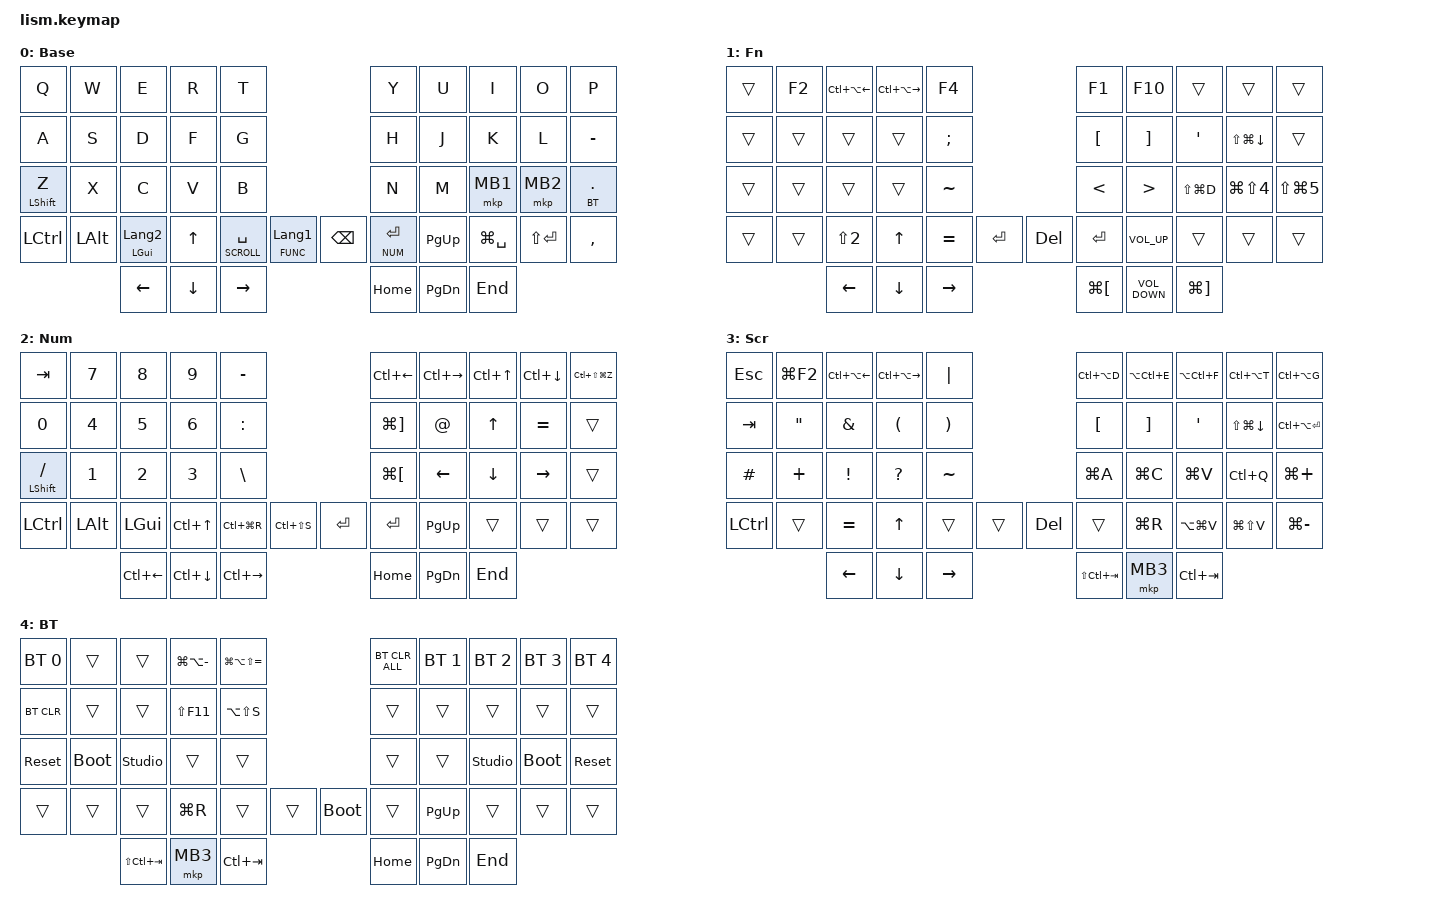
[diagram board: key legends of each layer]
// shot84 の配列（5 列 + 親指 5 + 5way の 50 キー版から移植・2026-11-09）
//
// 位置の対応（LiSM の並び）:
//   0〜29  … 指 3 行は同じ
//   30〜41 … 親指行 = 元の親指行 L5 / R5 の外→内の順。間の小さいキー（33 / 38）がスティックの「上」
//   42〜47 … スティックの 左 / 下 / 右（L 42〜44・R 45〜47）
// 元との違い:
//   ・左スティックは押し込みなし（ピン未割り当て）＝元の 5way 中央の割り当ては無い
//   ・右はトラックボール（PAW3222）＝右スティックの位置（38・45〜47）は物理的に無い。元の右 5way の割り当てを
//     置いてあるが効かない（4waystick 版にしたとき用）
//   ・エンコーダ無し＝sensor-bindings は書かない
//   ・BT レイヤの左スティック＝元の Scr レイヤの右 5way（↑⌘R ←⌃⇧Tab ↓MB3 →⌃Tab・2026-11-09）
// トラックボールのスクロールは SCROLL レイヤ（3）で効く＝snippets/trackball-*/ の scroller の layers と揃える

#include <behaviors.dtsi>
#include <dt-bindings/zmk/bt.h>
#include <dt-bindings/zmk/keys.h>
#include <dt-bindings/zmk/pointing.h>

#define DEF 0
#define FUNC 1
#define NUM 2
#define SCROLL 3
#define BT 4

&mt {
    flavor = "balanced";
    quick-tap-ms = <0>;
};

/ {
    behaviors {
        z_shft: zmk,behavior-hold-tap {
            compatible = "zmk,behavior-hold-tap";
            #binding-cells = <2>;
            flavor = "tap-preferred";
            tapping-term-ms = <250>;
            bindings = <&kp>, <&kp>;
        };
    };

    combos {
        compatible = "zmk,combos";

        cmd_w {
            bindings = <&kp LG(W)>;
            key-positions = <0 1>;
        };

        cmd_t {
            bindings = <&kp LG(T)>;
            key-positions = <4 3>;
        };

        cmd_opt_u {
            bindings = <&kp LA(LG(U))>;
            key-positions = <5 6>;
        };

        cmd_f {
            bindings = <&kp LG(F)>;
            key-positions = <14 13>;
        };

        cmd_shift_v {
            bindings = <&kp LG(LS(V))>;
            key-positions = <24 23>;
        };

        cmd_n {
            bindings = <&kp LG(N)>;
            key-positions = <25 26>;
        };
    };

    keymap {
        compatible = "zmk,keymap";

        default_layer {
            display-name = "Base";
            bindings = <
&kp Q             &kp W     &kp E                &kp R     &kp T                                          &kp Y     &kp U          &kp I          &kp O          &kp P
&kp A             &kp S     &kp D                &kp F     &kp G                                          &kp H     &kp J          &kp K          &kp L          &kp MINUS
&z_shft LSHIFT Z  &kp X     &kp C                &kp V     &kp B                                          &kp N     &kp M          &mkp MB1       &mkp MB2       &lt BT PERIOD
&kp LCTRL         &kp LALT  &mt LGUI LANGUAGE_2  &kp UP    &lt SCROLL SPACE  &lt FUNC LANGUAGE_1  &kp BSPC  &lt NUM ENTER  &kp PG_UP      &kp LG(SPACE)  &kp LS(ENTER)  &kp COMMA
                            &kp LEFT             &kp DOWN  &kp RIGHT                                      &kp HOME  &kp PG_DN      &kp END
            >;
        };

        function_layer {
            display-name = "Fn";
            bindings = <
&trans  &kp F2  &kp LC(LA(LEFT))  &kp LC(LA(RIGHT))  &kp F4                                &kp F1                &kp F10               &trans               &trans                 &trans
&trans  &trans  &trans            &trans             &kp SEMICOLON                         &kp LEFT_BRACKET      &kp RIGHT_BRACKET     &kp SQT              &kp LS(LG(DOWN))       &trans
&trans  &trans  &trans            &trans             &kp TILDE                             &kp LESS_THAN         &kp GREATER_THAN      &kp LS(LG(D))        &kp LG(LS(NUMBER_4))   &kp LS(LG(NUMBER_5))
&trans  &trans  &kp LS(NUMBER_2)  &kp UP             &kp EQUAL      &kp ENTER  &kp DELETE  &kp ENTER             &kp C_VOLUME_UP       &trans               &trans                 &trans
                &kp LEFT          &kp DOWN           &kp RIGHT                             &kp LG(LEFT_BRACKET)  &kp C_VOLUME_DOWN     &kp LG(RIGHT_BRACKET)
            >;
        };

        num_layer {
            display-name = "Num";
            bindings = <
&kp TAB           &kp N7        &kp N8        &kp N9        &kp MINUS                                   &kp LC(LEFT)           &kp LC(RIGHT)  &kp LC(UP_ARROW)  &kp LC(DOWN)  &kp LC(LS(LG(Z)))
&kp NUMBER_0      &kp NUMBER_4  &kp N5        &kp NUMBER_6  &kp COLON                                   &kp LG(RIGHT_BRACKET)  &kp AT_SIGN    &kp UP_ARROW      &kp EQUAL     &trans
&mt LSHIFT SLASH  &kp NUMBER_1  &kp NUMBER_2  &kp NUMBER_3  &kp BACKSLASH                               &kp LG(LEFT_BRACKET)   &kp LEFT       &kp DOWN          &kp RIGHT     &trans
&kp LCTRL         &kp LEFT_ALT  &kp LGUI      &kp LC(UP)    &kp LC(LG(R))  &kp LC(LS(S))  &kp ENTER     &kp ENTER              &kp PG_UP      &trans            &trans        &trans
                                &kp LC(LEFT)  &kp LC(DOWN)  &kp LC(RIGHT)                               &kp HOME               &kp PG_DN      &kp END
            >;
        };

        scroll_layer {
            display-name = "Scr";
            bindings = <
&kp ESCAPE  &kp LG(F2)         &kp LC(LA(LEFT))  &kp LC(LA(RIGHT))     &kp PIPE                                   &kp LC(LA(D))     &kp LA(LC(E))      &kp LA(LC(F))  &kp LC(LA(T))     &kp LC(LA(G))
&kp TAB     &kp DOUBLE_QUOTES  &kp AMPERSAND     &kp LEFT_PARENTHESIS  &kp RIGHT_PARENTHESIS                      &kp LEFT_BRACKET  &kp RIGHT_BRACKET  &kp SQT        &kp LS(LG(DOWN))  &kp LC(LA(ENTER))
&kp HASH    &kp PLUS           &kp EXCLAMATION   &kp QUESTION          &kp TILDE                                  &kp LG(A)         &kp LG(C)          &kp LG(V)      &kp LC(Q)         &kp LG(PLUS)
&kp LCTRL   &trans             &kp EQUAL         &kp UP                &trans                 &trans  &kp DELETE  &trans            &kp LG(R)          &kp LA(LG(V))  &kp LG(LS(V))     &kp LG(MINUS)
                               &kp LEFT          &kp DOWN              &kp RIGHT                                  &kp LS(LC(TAB))   &mkp MB3           &kp LC(TAB)
            >;
        };

        bt_layer {
            display-name = "BT";
            bindings = <
&bt BT_SEL 0  &trans       &trans                &kp LG(LA(MINUS))  &kp LG(LA(LS(EQUAL)))                        &bt BT_CLR_ALL  &bt BT_SEL 1  &bt BT_SEL 2    &bt BT_SEL 3  &bt BT_SEL 4
&bt BT_CLR    &trans       &trans                &kp LS(F11)        &kp LA(LS(S))                                &trans          &trans        &trans          &trans        &trans
&sys_reset    &bootloader  &studio_unlock        &trans             &trans                                       &trans          &trans        &studio_unlock  &bootloader   &sys_reset
&trans        &trans       &trans                &kp LG(R)          &trans                 &trans  &bootloader   &trans          &kp PG_UP     &trans          &trans        &trans
                           &kp LS(LC(TAB))       &mkp MB3           &kp LC(TAB)                                  &kp HOME        &kp PG_DN     &kp END
            >;
        };

        // ZMK Studio で足せる予備（元の LiSM のまま）
        layer_5 {
            status = "reserved";
            display-name = "Blank";
            bindings = <
&trans  &trans  &trans  &trans  &trans                  &trans  &trans  &trans  &trans  &trans
&trans  &trans  &trans  &trans  &trans                  &trans  &trans  &trans  &trans  &trans
&trans  &trans  &trans  &trans  &trans                  &trans  &trans  &trans  &trans  &trans
&trans  &trans  &trans  &trans  &trans  &trans  &trans  &trans  &trans  &trans  &trans  &trans
                &trans  &trans  &trans                  &trans  &trans  &trans
            >;
        };

        layer_6 {
            status = "reserved";
            display-name = "Blank";
            bindings = <
&trans  &trans  &trans  &trans  &trans                  &trans  &trans  &trans  &trans  &trans
&trans  &trans  &trans  &trans  &trans                  &trans  &trans  &trans  &trans  &trans
&trans  &trans  &trans  &trans  &trans                  &trans  &trans  &trans  &trans  &trans
&trans  &trans  &trans  &trans  &trans  &trans  &trans  &trans  &trans  &trans  &trans  &trans
                &trans  &trans  &trans                  &trans  &trans  &trans
            >;
        };

        layer_7 {
            status = "reserved";
            display-name = "Blank";
            bindings = <
&trans  &trans  &trans  &trans  &trans                  &trans  &trans  &trans  &trans  &trans
&trans  &trans  &trans  &trans  &trans                  &trans  &trans  &trans  &trans  &trans
&trans  &trans  &trans  &trans  &trans                  &trans  &trans  &trans  &trans  &trans
&trans  &trans  &trans  &trans  &trans  &trans  &trans  &trans  &trans  &trans  &trans  &trans
                &trans  &trans  &trans                  &trans  &trans  &trans
            >;
        };
    };
};
